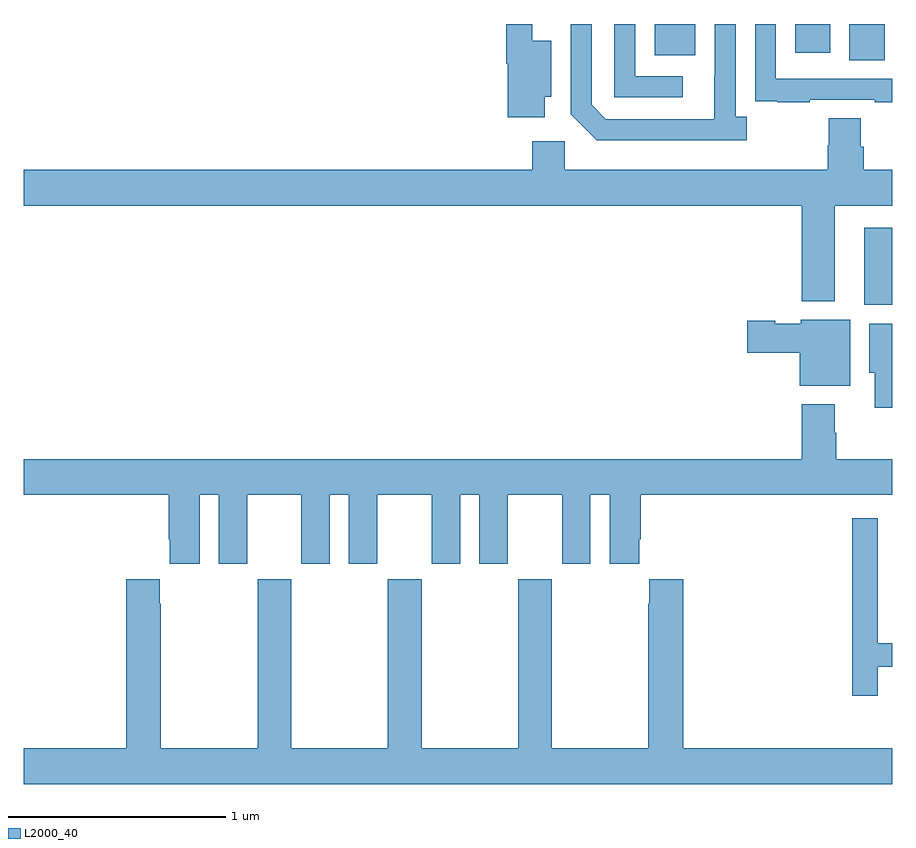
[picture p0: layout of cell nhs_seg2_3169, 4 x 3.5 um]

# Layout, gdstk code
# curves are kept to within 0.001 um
import gdstk
lib = gdstk.Library(unit=1e-6, precision=1e-09)
def R(c, l, rs):  # rectangles x0, y0, x1, y1
    for r in rs: c.add(gdstk.rectangle(r[:2], r[2:], *l))
def P(c, l, *ps):  # polygons
    for p in ps: c.add(gdstk.Polygon(p, *l))
L2000_40 = (2000, 40)

nhs_seg2_3169 = lib.new_cell('nhs_seg2_3169')
R(nhs_seg2_3169, L2000_40, [(280.871,652.508,281,652.861), (280.802,653.632,280.966,653.8), (279.905,653.657,280.093,653.8), (280.553,653.667,280.714,653.8)])
P(nhs_seg2_3169, L2000_40, [(280.33,653.374),(280.278,653.374),(280.278,653.8),(280.182,653.8),(280.181,653.361),(279.681,653.361),(279.615,653.427),(279.615,653.8),(279.519,653.8),(279.519,653.385),(279.64,653.264),(280.33,653.264)],
  [(280.619,653.451),(280.919,653.451),(280.919,653.439),(281,653.439),(281,653.547),(280.464,653.547),(280.464,653.8),(280.368,653.8),(280.368,653.554),(280.369,653.554),(280.369,653.445),(280.471,653.445),(280.471,653.439),(280.619,653.439)],
  [(279.4,653.465),(279.43,653.465),(279.43,653.722),(279.341,653.722),(279.341,653.8),(279.223,653.8),(279.223,653.618),(279.23,653.618),(279.23,653.37),(279.4,653.37)],
  [(280.036,653.559),(279.816,653.559),(279.816,653.8),(279.72,653.8),(279.72,653.463),(280.036,653.463)],
  [(280.735,652.964),(281,652.964),(281,653.128),(280.868,653.128),(280.868,653.234),(280.855,653.234),(280.855,653.366),(280.708,653.366),(280.708,653.241),(280.703,653.241),(280.703,653.128),(279.492,653.128),(279.492,653.26),(279.341,653.26),(279.341,653.128),(277,653.128),(277,652.964),(280.583,652.964),(280.583,652.523),(280.735,652.523)],
  [(280.807,652.438),(280.578,652.438),(280.578,652.42),(280.461,652.42),(280.461,652.433),(280.332,652.433),(280.332,652.286),(280.574,652.286),(280.574,652.133),(280.807,652.133)],
  [(281,652.42),(280.895,652.42),(280.895,652.194),(280.919,652.194),(280.919,652.032),(281,652.032)],
  [(277.81,651.632),(277.898,651.632),(277.898,651.315),(278.029,651.315),(278.029,651.632),(278.279,651.632),(278.279,651.315),(278.41,651.315),(278.41,651.632),(278.498,651.632),(278.498,651.315),(278.629,651.315),(278.629,651.632),(278.879,651.632),(278.879,651.315),(279.01,651.315),(279.01,651.632),(279.098,651.632),(279.098,651.315),(279.229,651.315),(279.229,651.632),(279.479,651.632),(279.479,651.315),(279.61,651.315),(279.61,651.632),(279.698,651.632),(279.698,651.315),(279.835,651.315),(279.835,651.427),(279.842,651.427),(279.842,651.632),(281,651.632),(281,651.796),(280.743,651.796),(280.743,651.917),(280.735,651.917),(280.735,652.048),(280.583,652.048),(280.583,651.796),(277,651.796),(277,651.632),(277.667,651.632),(277.667,651.427),(277.673,651.427),(277.673,651.315),(277.81,651.315)],
  [(280.933,650.841),(281,650.841),(281,650.949),(280.932,650.949),(280.932,651.523),(280.816,651.523),(280.816,650.706),(280.933,650.706)],
  [(281,650.464),(280.037,650.464),(280.037,651.244),(279.881,651.244),(279.881,651.131),(279.877,651.131),(279.877,650.464),(279.432,650.464),(279.432,651.244),(279.277,651.244),(279.277,650.464),(278.832,650.464),(278.832,651.244),(278.677,651.244),(278.677,650.464),(278.232,650.464),(278.232,651.244),(278.077,651.244),(278.077,650.464),(277.632,650.464),(277.632,651.131),(277.627,651.131),(277.627,651.244),(277.472,651.244),(277.472,650.464),(277,650.464),(277,650.3),(281,650.3)])

lib.write_gds('nhs_seg2_3169.gds')
